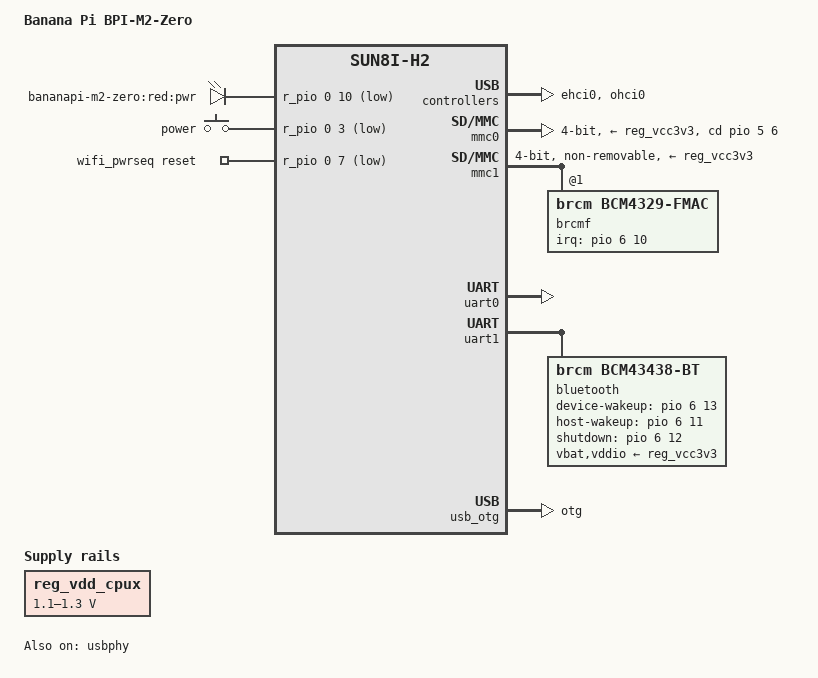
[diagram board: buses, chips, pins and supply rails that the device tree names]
// SPDX-License-Identifier: (GPL-2.0+ OR MIT)
/*
 * Copyright (C) 2017 Icenowy Zheng <icenowy@aosc.io>
 *
 * Based on sun8i-h3-bananapi-m2-plus.dts, which is:
 *   Copyright (C) 2016 Chen-Yu Tsai <wens@csie.org>
 */

/dts-v1/;
#include "sun8i-h3.dtsi"
#include "sunxi-common-regulators.dtsi"

#include <dt-bindings/gpio/gpio.h>
#include <dt-bindings/input/input.h>

/ {
	model = "Banana Pi BPI-M2-Zero";
	compatible = "sinovoip,bpi-m2-zero", "allwinner,sun8i-h2-plus";

	aliases {
		serial0 = &uart0;
		serial1 = &uart1;
	};

	chosen {
		stdout-path = "serial0:115200n8";
	};

	leds {
		compatible = "gpio-leds";

		pwr_led {
			label = "bananapi-m2-zero:red:pwr";
			gpios = <&r_pio 0 10 GPIO_ACTIVE_LOW>; /* PL10 */
			default-state = "on";
		};
	};

	gpio_keys {
		compatible = "gpio-keys";

		sw4 {
			label = "power";
			linux,code = <BTN_0>;
			gpios = <&r_pio 0 3 GPIO_ACTIVE_LOW>;
		};
	};

	reg_vdd_cpux: vdd-cpux-regulator {
		compatible = "regulator-gpio";
		regulator-name = "vdd-cpux";
		regulator-type = "voltage";
		regulator-boot-on;
		regulator-always-on;
		regulator-min-microvolt = <1100000>;
		regulator-max-microvolt = <1300000>;
		regulator-ramp-delay = <50>; /* 4ms */

		gpios = <&r_pio 0 1 GPIO_ACTIVE_HIGH>; /* PL1 */
		enable-active-high;
		gpios-states = <0x1>;
		states = <1100000 0>, <1300000 1>;
	};

	wifi_pwrseq: wifi_pwrseq {
		compatible = "mmc-pwrseq-simple";
		reset-gpios = <&r_pio 0 7 GPIO_ACTIVE_LOW>; /* PL7 */
		clocks = <&rtc 1>;
		clock-names = "ext_clock";
	};
};

&cpu0 {
	cpu-supply = <&reg_vdd_cpux>;
};

&ehci0 {
	status = "okay";
};

&mmc0 {
	vmmc-supply = <&reg_vcc3v3>;
	bus-width = <4>;
	/*
	 * On the production batch of this board the card detect GPIO is
	 * high active (card inserted), although on the early samples it's
	 * low active.
	 */
	cd-gpios = <&pio 5 6 GPIO_ACTIVE_HIGH>; /* PF6 */
	status = "okay";
};

&mmc1 {
	vmmc-supply = <&reg_vcc3v3>;
	vqmmc-supply = <&reg_vcc3v3>;
	mmc-pwrseq = <&wifi_pwrseq>;
	bus-width = <4>;
	non-removable;
	status = "okay";

	brcmf: wifi@1 {
		reg = <1>;
		compatible = "brcm,bcm4329-fmac";
		interrupt-parent = <&pio>;
		interrupts = <6 10 IRQ_TYPE_LEVEL_LOW>; /* PG10 / EINT10 */
		interrupt-names = "host-wake";
	};
};

&ohci0 {
	status = "okay";
};

&uart0 {
	pinctrl-names = "default";
	pinctrl-0 = <&uart0_pa_pins>;
	status = "okay";
};

&uart1 {
	pinctrl-names = "default";
	pinctrl-0 = <&uart1_pins>, <&uart1_rts_cts_pins>;
	uart-has-rtscts;
	status = "okay";

	bluetooth {
		compatible = "brcm,bcm43438-bt";
		clocks = <&rtc 1>;
		clock-names = "lpo";
		vbat-supply = <&reg_vcc3v3>;
		vddio-supply = <&reg_vcc3v3>;
		device-wakeup-gpios = <&pio 6 13 GPIO_ACTIVE_HIGH>; /* PG13 */
		host-wakeup-gpios = <&pio 6 11 GPIO_ACTIVE_HIGH>; /* PG11 */
		shutdown-gpios = <&pio 6 12 GPIO_ACTIVE_HIGH>; /* PG12 */
	};

};

&pio {
	gpio-line-names =
		/* PA */
		"CON2-P13", "CON2-P11", "CON2-P22", "CON2-P15",
			"CON3-P03", "CON3-P02", "CON2-P07", "CON2-P29",
		"CON2-P31", "CON2-P33", "CON2-P35", "CON2-P05",
			"CON2-P03", "CON2-P08", "CON2-P10", "CON2-P16",
		"CON2-P12", "CON2-P37", "CON2-P28", "CON2-P27",
			"CON2-P40", "CON2-P38", "", "",
		"", "", "", "", "", "", "", "",

		/* PB */
		"", "", "", "", "", "", "", "",
		"", "", "", "", "", "", "", "",
		"", "", "", "", "", "", "", "",
		"", "", "", "", "", "", "", "",

		/* PC */
		"CON2-P19", "CON2-P21", "CON2-P23", "CON2-P24",
			"CON2-P18", "", "", "CON2-P26",
		"", "", "", "", "", "", "", "",
		"", "", "", "", "", "", "", "",
		"", "", "", "", "", "", "", "",

		/* PD */
		"", "", "", "", "", "", "", "",
		"", "", "", "", "", "", "CSI-PWR-EN", "",
		"", "", "", "", "", "", "", "",
		"", "", "", "", "", "", "", "",

		/* PE */
		"CN3-P17", "CN3-P13", "CN3-P09", "CN3-P07",
			"CN3-P19", "CN3-P21", "CN3-P22", "CN3-P20",
		"CN3-P18", "CN3-P16", "CN3-P14", "CN3-P12",
			"CN3-P05", "CN3-P03", "CN3-P06", "CN3-P08",
		"", "", "", "", "", "", "", "",
		"", "", "", "", "", "", "", "",

		/* PF */
		"SDC0-D1", "SDC0-D0", "SDC0-CLK", "SDC0-CMD", "SDC0-D3",
			"SDC0-D2", "SDC0-DET", "",
		"", "", "", "", "", "", "", "",
		"", "", "", "", "", "", "", "",
		"", "", "", "", "", "", "", "",

		/* PG */
		"WL-SDIO-CLK", "WL-SDIO-CMD", "WL-SDIO-D0", "WL-SDIO-D1",
			"WL-SDIO-D2", "WL-SDIO-D3", "BT-UART-TX", "BT-UART-RX",
		"BT-UART-RTS", "BT-UART-CTS", "WL-WAKE-AP", "BT-WAKE-AP",
			"BT-RST-N", "AP-WAKE-BT", "", "",
		"", "", "", "", "", "", "", "",
		"", "", "", "", "", "", "", "";
};

&r_pio {
	gpio-line-names =
		/* PL */
		"", "CPUX-SET", "CON2-P32", "POWER-KEY", "CON2-P36",
			"VCC-IO-EN", "USB0-ID", "WL-PWR-EN",
		"PWR-STB", "PWR-DRAM", "PWR-LED", "IR-RX", "", "", "", "",
		"", "", "", "", "", "", "", "",
		"", "", "", "", "", "", "", "";
};

&usb_otg {
	dr_mode = "otg";
	status = "okay";
};

&usbphy {
	usb0_id_det-gpios = <&r_pio 0 6 GPIO_ACTIVE_HIGH>; /* PL6 */
	/*
	 * There're two micro-USB connectors, one is power-only and another is
	 * OTG. The Vbus of these two connectors are connected together, so
	 * the external USB device will be powered just by the power input
	 * from the power-only USB port.
	 */
	status = "okay";
};
